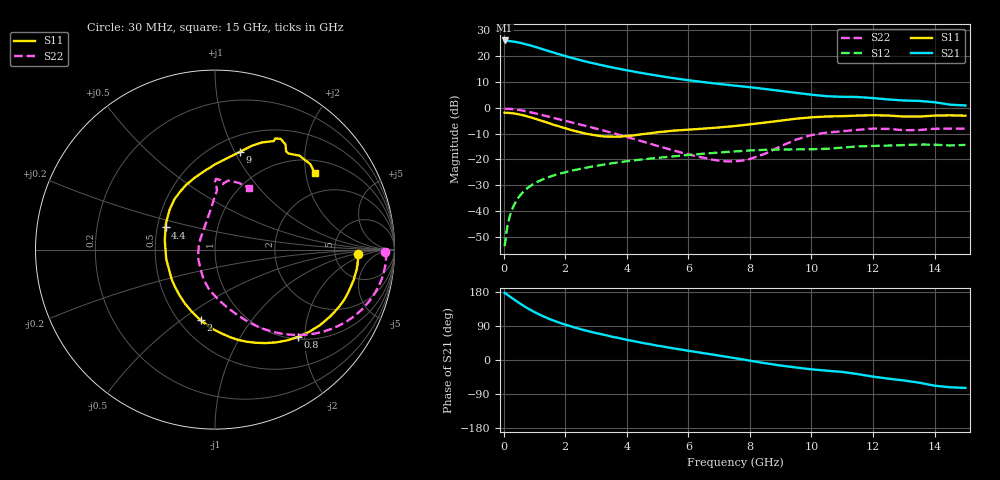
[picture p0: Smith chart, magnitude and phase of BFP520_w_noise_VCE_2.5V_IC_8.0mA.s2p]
! Infineon Technologies  Discrete & RF Semiconductors
! BFP520
! VCE =  2.5 V,  IC =  8.0 mA
! Common Emitter S-Parameters:  Oct 2015
# GHz  S  MA  R  50
!  f  S11  S21  S12  S22
! GHz  MAG  ANG  MAG  ANG  MAG  ANG  MAG  ANG
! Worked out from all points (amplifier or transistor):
!   109 points, 30 MHz to 15 GHz, reference 50 ohm
!   highest |S21| = 26.0 dB at 30 MHz (marker M1)
!   |S21| within 3 dB of that: start of sweep to 1.164 GHz
!   unconditionally stable (mu >= 1): start of sweep to 33.94 MHz; 3.682 GHz to end of sweep
!   at 450 MHz: K = 0.28, MSG = 30.3 dB, |S12| = -35.2 dB
!   at 4 GHz: K = 1.04, MAG = 16.4 dB, |S12| = -20.7 dB
!   at 15 GHz: K = 1.32, MAG = 4.2 dB, |S12| = -14.4 dB
!   lowest NFmin = 1.40 dB at 900 MHz
!   S11 on the Smith chart (normalised r, x): 30 MHz: 8.80, -1.15; 800 MHz: 1.05, -1.85; 2 GHz: 0.63, -0.59; 4.4 GHz: 0.55, +0.15; 9 GHz: 0.66, +1.05; 15 GHz: 1.33, +2.25
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0.03  0.7991 -1.7  20.01 177.3  0.0021 37.3  0.95 -0.8
0.05  0.7982 -2.8  19.79 175.7  0.0025 52.3  0.9525 -1.5
0.25  0.7843 -15.2  19.29 164.6  0.0099 73.4  0.9446 -9.5
0.45  0.7531 -27.0  18.42 153.4  0.0173 72.2  0.9149 -16.9
0.6  0.7213 -35.6  17.64 145.4  0.0224 69.8  0.8837 -22.2
0.8  0.6714 -46.4  16.4 135.4  0.0287 66.2  0.8358 -28.6
1.1  0.5927 -61.5  14.55 122.4  0.037 61.5  0.7591 -36.9
1.4  0.5196 -75.6  12.8 111.3  0.0442 57.5  0.6843 -43.9
1.7  0.4541 -88.7  11.28 101.6  0.0506 54.1  0.6172 -49.9
2  0.4011 -101.6  10 93.3  0.0565 51.4  0.5571 -55.1
2.2  0.3697 -110.3  9.255 88.2  0.0604 49.6  0.5207 -58.3
2.6  0.3223 -127.8  8.014 79.1  0.0678 46.4  0.4544 -64.2
3  0.2924 -145.8  7.036 71.0  0.0751 43.3  0.3946 -70.1
3.5  0.2768 -168.9  6.067 61.7  0.084 39.2  0.3295 -78.1
4.4  0.3017 155.8  4.794 47.0  0.0984 31.7  0.2324 -96.0
5.1  0.3398 137.0  4.079 36.5  0.1086 26.3  0.1757 -111.2
6  0.3767 121.1  3.407 24.3  0.1219 19.5  0.1258 -132.0
7.6  0.4486 95.8  2.642 3.7  0.144 6.0  0.0929 161.9
9  0.5628 75.6  2.114 -14.6  0.1557 -7.2  0.1801 103.1
10.5  0.6775 62.8  1.67 -28.2  0.1607 -15.9  0.3306 88.0
13  0.6747 54.0  1.381 -54.0  0.1896 -36.0  0.3676 83.0
15  0.7014 37.7  1.105 -73.7  0.1908 -51.8  0.3926 61.5
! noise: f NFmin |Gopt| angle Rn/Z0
0.45  1.42  0.36  1  0.29
0.9  1.4  0.34  8  0.32
1.9  1.59  0.3  17  0.26
2.4  1.61  0.26  29  0.27
3.5  1.56  0.24  52  0.26
